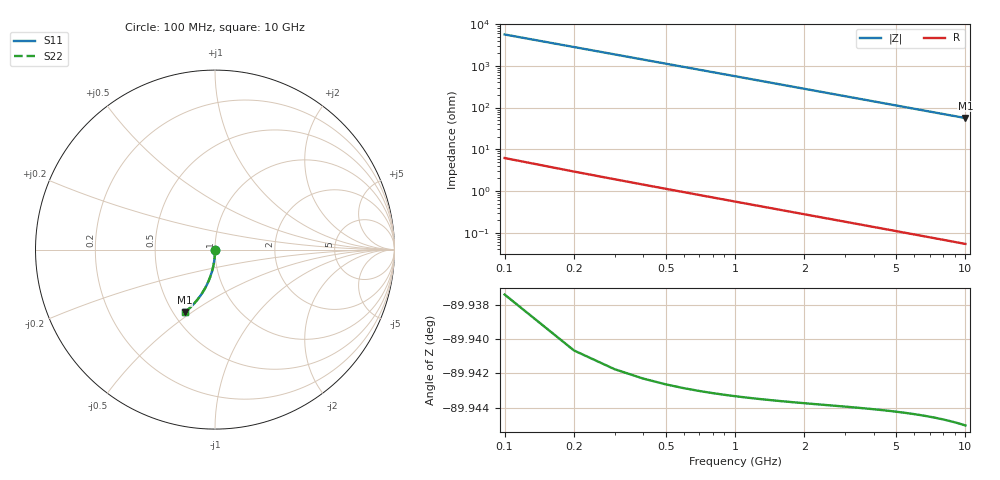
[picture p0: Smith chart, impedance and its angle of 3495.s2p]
# Hz S RI R 50.00
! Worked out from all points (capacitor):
!   100 points, 100 MHz to 10 GHz, reference 50 ohm
!   read as one part in shunt: C = 281 fF near 100 MHz
!   lowest |Z| = 56.2 ohm at 10 GHz (marker M1)
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1e8  2.72e-05 -0.00417  0.9999 -0.00466  0.9999 -0.00466  2.72e-05 -0.00417
2e8  -3.52e-05 -0.00835  0.9999 -0.00932  0.9999 -0.00932  -3.52e-05 -0.00835
3e8  -0.000137 -0.0125  0.9998 -0.014  0.9998 -0.014  -0.000137 -0.0125
4e8  -0.000277 -0.0167  0.9996 -0.0186  0.9996 -0.0186  -0.000277 -0.0167
5e8  -0.000456 -0.0209  0.9994 -0.0233  0.9994 -0.0233  -0.000456 -0.0209
6e8  -0.000674 -0.025  0.9992 -0.028  0.9992 -0.028  -0.000674 -0.025
7e8  -0.000931 -0.0292  0.999 -0.0326  0.999 -0.0326  -0.000931 -0.0292
8e8  -0.00123 -0.0334  0.9987 -0.0373  0.9987 -0.0373  -0.00123 -0.0334
9e8  -0.00156 -0.0375  0.9983 -0.0419  0.9983 -0.0419  -0.00156 -0.0375
1.1e9  -0.00235 -0.0458  0.9975 -0.0512  0.9975 -0.0512  -0.00235 -0.0458
1.4e9  -0.00382 -0.0583  0.9961 -0.0651  0.9961 -0.0651  -0.00382 -0.0583
1.8e9  -0.00631 -0.0747  0.9935 -0.0836  0.9935 -0.0836  -0.00631 -0.0747
2.1e9  -0.00858 -0.087  0.9913 -0.0973  0.9913 -0.0973  -0.00858 -0.087
2.5e9  -0.0121 -0.1033  0.9877 -0.1156  0.9877 -0.1156  -0.0121 -0.1033
2.9e9  -0.0163 -0.1194  0.9835 -0.1336  0.9835 -0.1336  -0.0163 -0.1194
3.4e9  -0.0223 -0.1392  0.9775 -0.1559  0.9775 -0.1559  -0.0223 -0.1392
4.2e9  -0.0337 -0.17  0.966 -0.1907  0.966 -0.1907  -0.0337 -0.17
5.1e9  -0.049 -0.2033  0.9505 -0.2285  0.9505 -0.2285  -0.049 -0.2033
5.9e9  -0.0647 -0.2314  0.9347 -0.2607  0.9347 -0.2607  -0.0647 -0.2314
6.7e9  -0.0821 -0.258  0.9172 -0.2913  0.9172 -0.2913  -0.0821 -0.258
8.4e9  -0.1239 -0.3086  0.8751 -0.3506  0.8751 -0.3506  -0.1239 -0.3086
1e10  -0.1677 -0.3486  0.8309 -0.3989  0.8309 -0.3989  -0.1677 -0.3486
